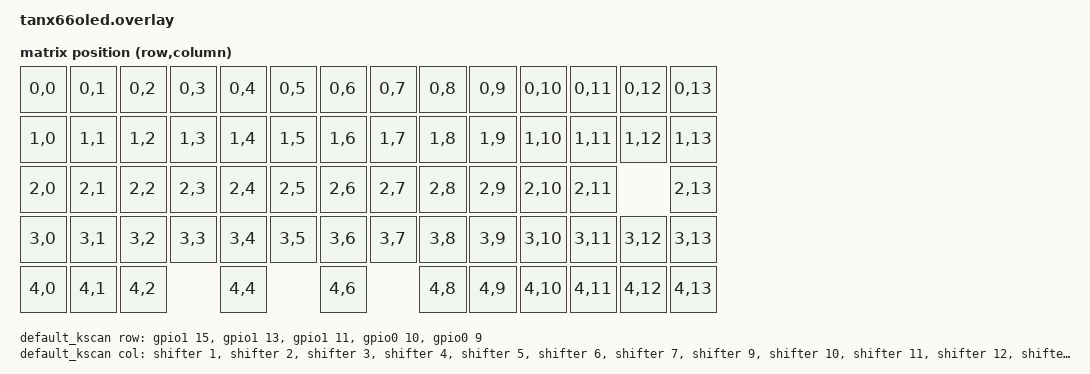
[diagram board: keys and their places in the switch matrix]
#include <dt-bindings/zmk/matrix_transform.h>

/ {
    chosen {
        zmk,kscan = &default_kscan;
        zmk,matrix_transform = &default_transform;
        zephyr,display = &oled;
    };

    &adc {
        status = "okay";
    };

    hall_effect: hall_effect {
        compatible = "velocityworkflow-cmyk,hall-effect-adc";
        status = "okay";

        hall_sensor_0: hall-sensor-0 {
            io-channels = <&adc 0>;
            label = "HALL_0_ADC";
            key-id = <0>;
        };

        hall_sensor_1: hall-sensor-1 {
            io-channels = <&adc 5>;
            label = "HALL_1_ADC";
            key-id = <1>;
        };
    };

    default_kscan: kscan {
        compatible = "zmk,kscan-gpio-matrix";
        label = "default_kscan";
        diode-direction = "col2row";

        row-gpios = <&gpio1 15 (GPIO_ACTIVE_HIGH | GPIO_PULL_DOWN)>,
                    <&gpio1 13 (GPIO_ACTIVE_HIGH | GPIO_PULL_DOWN)>,
                    <&gpio1 11 (GPIO_ACTIVE_HIGH | GPIO_PULL_DOWN)>,
                    <&gpio0 10 (GPIO_ACTIVE_HIGH | GPIO_PULL_DOWN)>,
                    <&gpio0  9 (GPIO_ACTIVE_HIGH | GPIO_PULL_DOWN)>;

        col-gpios = <&shifter 1 GPIO_ACTIVE_HIGH>,
                    <&shifter 2 GPIO_ACTIVE_HIGH>,
                    <&shifter 3 GPIO_ACTIVE_HIGH>,
                    <&shifter 4 GPIO_ACTIVE_HIGH>,
                    <&shifter 5 GPIO_ACTIVE_HIGH>,
                    <&shifter 6 GPIO_ACTIVE_HIGH>,
                    <&shifter 7 GPIO_ACTIVE_HIGH>,
                    <&shifter 9 GPIO_ACTIVE_HIGH>,
                    <&shifter 10 GPIO_ACTIVE_HIGH>,
                    <&shifter 11 GPIO_ACTIVE_HIGH>,
                    <&shifter 12 GPIO_ACTIVE_HIGH>,
                    <&shifter 13 GPIO_ACTIVE_HIGH>,
                    <&shifter 14 GPIO_ACTIVE_HIGH>,
                    <&shifter 15 GPIO_ACTIVE_HIGH>;
    };

    default_transform: matrix_transform {
        compatible = "zmk,matrix-transform";
        rows = <5>;
        columns = <14>;

        map = <
           RC(0,0) RC(0,1) RC(0,2) RC(0,3) RC(0,4) RC(0,5) RC(0,6) RC(0,7) RC(0,8) RC(0,9) RC(0,10) RC(0,11) RC(0,12) RC(0,13)
           RC(1,0) RC(1,1) RC(1,2) RC(1,3) RC(1,4) RC(1,5) RC(1,6) RC(1,7) RC(1,8) RC(1,9) RC(1,10) RC(1,11) RC(1,12) RC(1,13)
           RC(2,0) RC(2,1) RC(2,2) RC(2,3) RC(2,4) RC(2,5) RC(2,6) RC(2,7) RC(2,8) RC(2,9) RC(2,10) RC(2,11)          RC(2,13)
           RC(3,0) RC(3,1) RC(3,2) RC(3,3) RC(3,4) RC(3,5) RC(3,6) RC(3,7) RC(3,8) RC(3,9) RC(3,10) RC(3,11) RC(3,12) RC(3,13)
           RC(4,0) RC(4,1) RC(4,2)         RC(4,4)         RC(4,6)         RC(4,8) RC(4,9) RC(4,10) RC(4,11) RC(4,12) RC(4,13)
        >;
    };
};

&spi1 {
    status = "okay";
    cs-gpios = <&gpio0 11 GPIO_ACTIVE_LOW>;
    shifter: 595@0 {
        compatible = "zmk,gpio-595";
        status = "okay";
        gpio-controller;
        spi-max-frequency = <4000000>;
        reg = <0>;
       #gpio-cells = <2>;
        ngpios = <16>;
    };
};

&i2c0 {
    status = "okay";
    oled: ssd1306@3c {
        compatible = "solomon,ssd1306fb";
        reg = <0x3c>;
        width = <128>;
        height = <32>;
        segment-offset = <0>;
        page-offset = <0>;
        display-offset = <0>;
        multiplex-ratio = <31>;
        segment-remap;
        com-invdir;
        com-sequential;
        inversion-on;
        prechargep = <0x22>;
    };

};
